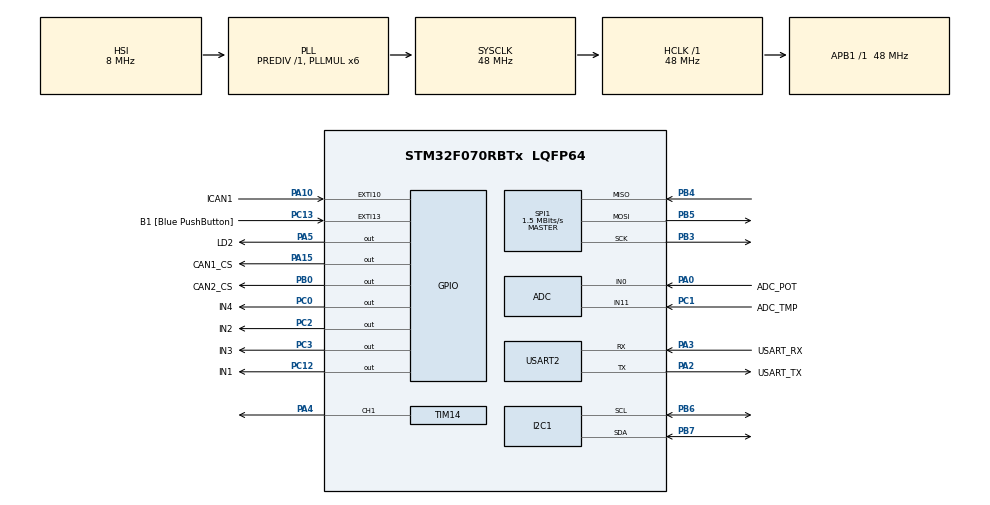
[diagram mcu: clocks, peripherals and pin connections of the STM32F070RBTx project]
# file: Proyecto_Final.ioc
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ADC.ContinuousConvMode=ENABLE
ADC.SamplingTime=ADC_SAMPLETIME_239CYCLES_5
FREERTOS.BinarySemaphores01=TX_Sem,Dynamic,NULL;CAN_Sem,Dynamic,NULL
FREERTOS.Events01=ADC_Event,Dynamic,NULL
FREERTOS.Queues01=RX_Queue,4,uint8_t,0,Dynamic,NULL,NULL;ADC_Queue,16,uint16_t,0,Dynamic,NULL,NULL
FREERTOS.Tasks01=defaultTask,8,128,StartDefaultTask,Default,NULL,Dynamic,NULL,NULL;RX_task,40,128,RX_Task,Default,NULL,Dynamic,NULL,NULL;ADC_task,24,128,ADC_Task,Default,NULL,Dynamic,NULL,NULL;SteppingMotor_T,24,128,SteppingMotor_task,Default,NULL,Dynamic,NULL,NULL;Servo_task,24,128,Servo_Task,Default,NULL,Dynamic,NULL,NULL;TX_task,24,128,TX_Task,Default,NULL,Dynamic,NULL,NULL;TX_TMP_task,24,128,TX_TMP_Task,Default,NULL,Dynamic,NULL,NULL;OLED_task,24,128,OLED_Task,Default,NULL,Dynamic,NULL,NULL;CAN_remote,24,128,CAN_remote_task,Default,NULL,Dynamic,NULL,NULL
FREERTOS.configTOTAL_HEAP_SIZE=8000
FREERTOS.configUSE_NEWLIB_REENTRANT=1
Mcu.Family=STM32F0
Mcu.Name=STM32F070RBTx
Mcu.Package=LQFP64
NVIC.ADC1_IRQn=true\:3\:0\:false\:false\:true\:true\:true\:true
NVIC.EXTI4_15_IRQn=true\:3\:0\:false\:false\:true\:true\:true\:true
NVIC.TIM14_IRQn=true\:3\:0\:false\:false\:true\:true\:true\:true
NVIC.TIM1_BRK_UP_TRG_COM_IRQn=true\:0\:0\:false\:false\:true\:false\:false\:true
NVIC.TimeBase=TIM1_BRK_UP_TRG_COM_IRQn
NVIC.TimeBaseIP=TIM1
NVIC.USART2_IRQn=true\:3\:0\:false\:false\:true\:true\:true\:true
PA0.GPIO_Label=ADC_POT
PA0.Mode=IN0
PA0.Signal=ADC_IN0
PA10.GPIO_Label=ICAN1
PA10.GPIO_PuPd=GPIO_PULLDOWN
PA10.Signal=GPXTI10
PA13.GPIO_Label=TMS
PA13.Mode=Serial_Wire
PA13.Signal=SYS_SWDIO
PA14.GPIO_Label=TCK
PA14.Mode=Serial_Wire
PA14.Signal=SYS_SWCLK
PA15.GPIO_Label=CAN1_CS
PA15.Signal=GPIO_Output
PA2.GPIO_Label=USART_TX
PA2.Mode=Asynchronous
PA2.Signal=USART2_TX
PA3.GPIO_Label=USART_RX
PA3.Mode=Asynchronous
PA3.Signal=USART2_RX
PA4.Signal=S_TIM14_CH1
PA5.GPIO_Label=LD2
PA5.Signal=GPIO_Output
PB0.GPIO_Label=CAN2_CS
PB0.Signal=GPIO_Output
PB3.Mode=Full_Duplex_Master
PB3.Signal=SPI1_SCK
PB4.Mode=Full_Duplex_Master
PB4.Signal=SPI1_MISO
PB5.Mode=Full_Duplex_Master
PB5.Signal=SPI1_MOSI
PB6.GPIO_PuPdOD=GPIO_NOPULL
PB6.Mode=I2C
PB6.Signal=I2C1_SCL
PB7.GPIO_PuPdOD=GPIO_NOPULL
PB7.Mode=I2C
PB7.Signal=I2C1_SDA
PC0.GPIO_Label=IN4
PC0.Signal=GPIO_Output
PC1.GPIO_Label=ADC_TMP
PC1.Mode=IN11
PC1.Signal=ADC_IN11
PC12.GPIO_Label=IN1
PC12.Signal=GPIO_Output
PC13.GPIO_Label=B1 [Blue PushButton]
PC13.GPIO_ModeDefaultEXTI=GPIO_MODE_IT_FALLING
PC13.Signal=GPXTI13
PC14-OSC32_IN.GPIO_Label=RCC_OSC32_IN
PC14-OSC32_IN.Mode=LSE-External-Oscillator
PC14-OSC32_IN.Signal=RCC_OSC32_IN
PC15-OSC32_OUT.GPIO_Label=RCC_OSC32_OUT
PC15-OSC32_OUT.Mode=LSE-External-Oscillator
PC15-OSC32_OUT.Signal=RCC_OSC32_OUT
PC2.GPIO_Label=IN2
PC2.Signal=GPIO_Output
PC3.GPIO_Label=IN3
PC3.Signal=GPIO_Output
PF0-OSC_IN.GPIO_Label=RCC_OSC_IN
PF0-OSC_IN.Mode=HSE-External-Clock-Source
PF0-OSC_IN.Signal=RCC_OSC_IN
PF1-OSC_OUT.GPIO_Label=RCC_OSC_OUT
PF1-OSC_OUT.Signal=RCC_OSC_OUT
ProjectManager.HeapSize=0x200
ProjectManager.StackSize=0x400
ProjectManager.TargetToolchain=STM32CubeIDE
RCC.AHBFreq_Value=48000000
RCC.APB1Freq_Value=48000000
RCC.APB1TimFreq_Value=48000000
RCC.HCLKFreq_Value=48000000
RCC.PLLMUL=RCC_PLL_MUL6
RCC.SYSCLKFreq_VALUE=48000000
RCC.SYSCLKSource=RCC_SYSCLKSOURCE_PLLCLK
SH.S_TIM14_CH1.0=TIM14_CH1,PWM Generation1 CH1
SPI1.BaudRatePrescaler=SPI_BAUDRATEPRESCALER_32
SPI1.CalculateBaudRate=1.5 MBits/s
SPI1.DataSize=SPI_DATASIZE_8BIT
SPI1.Direction=SPI_DIRECTION_2LINES
SPI1.Mode=SPI_MODE_MASTER
SPI1.NSSPMode=SPI_NSS_PULSE_DISABLE
SPI1.VirtualType=VM_MASTER
TIM14.AutoReloadPreload=TIM_AUTORELOAD_PRELOAD_DISABLE
TIM14.Channel=TIM_CHANNEL_1
TIM14.Period=19999
TIM14.Prescaler=47
USART2.VirtualMode-Asynchronous=VM_ASYNC
VP_FREERTOS_VS_CMSIS_V2.Mode=CMSIS_V2
VP_SYS_VS_tim1.Mode=TIM1
VP_TIM14_VS_ClockSourceINT.Mode=Enable_Timer
board=NUCLEO-F070RB

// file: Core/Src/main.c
/* USER CODE BEGIN Header */
/**
 ******************************************************************************
 * @file           : main.c
 * @brief          : Main program body
 ******************************************************************************
 * @attention
 *
 * <h2><center>&copy; Copyright (c) 2024 STMicroelectronics.
 * All rights reserved.</center></h2>
 *
 * This software component is licensed by ST under Ultimate Liberty license
 * SLA0044, the "License"; You may not use this file except in compliance with
 * the License. You may obtain a copy of the License at:
 *                             www.st.com/SLA0044
 *
 ******************************************************************************
 */
/* USER CODE END Header */
#include "main.h"
#include "cmsis_os.h"

/* USER CODE BEGIN Includes */
#include "stdbool.h"
#include "math.h"
#include <string.h>
#include <stdio.h>
#include "CANSPI.h"
#include "ssd1306/ssd1306.h"
#include "ssd1306/ssd1306_tests.h"
#include "ssd1306/ssd1306_fonts.h"
/* USER CODE END Includes */

/* USER CODE BEGIN PTD */
#define CAN &hspi1
/* USER CODE END PTD */

ADC_HandleTypeDef hadc;

I2C_HandleTypeDef hi2c1;

SPI_HandleTypeDef hspi1;

TIM_HandleTypeDef htim14;

UART_HandleTypeDef huart2;

/* Definitions for defaultTask */
osThreadId_t defaultTaskHandle;
const osThreadAttr_t defaultTask_attributes = {
  .name = "defaultTask",
  .priority = (osPriority_t) osPriorityLow,
  .stack_size = 128 * 4
};
/* Definitions for RX_task */
osThreadId_t RX_taskHandle;
const osThreadAttr_t RX_task_attributes = {
  .name = "RX_task",
  .priority = (osPriority_t) osPriorityHigh,
  .stack_size = 128 * 4
};
/* Definitions for ADC_task */
osThreadId_t ADC_taskHandle;
const osThreadAttr_t ADC_task_attributes = {
  .name = "ADC_task",
  .priority = (osPriority_t) osPriorityNormal,
  .stack_size = 128 * 4
};
/* Definitions for SteppingMotor_T */
osThreadId_t SteppingMotor_THandle;
const osThreadAttr_t SteppingMotor_T_attributes = {
  .name = "SteppingMotor_T",
  .priority = (osPriority_t) osPriorityNormal,
  .stack_size = 128 * 4
};
/* Definitions for Servo_task */
osThreadId_t Servo_taskHandle;
const osThreadAttr_t Servo_task_attributes = {
  .name = "Servo_task",
  .priority = (osPriority_t) osPriorityNormal,
  .stack_size = 128 * 4
};
/* Definitions for TX_task */
osThreadId_t TX_taskHandle;
const osThreadAttr_t TX_task_attributes = {
  .name = "TX_task",
  .priority = (osPriority_t) osPriorityNormal,
  .stack_size = 128 * 4
};
/* Definitions for TX_TMP_task */
osThreadId_t TX_TMP_taskHandle;
const osThreadAttr_t TX_TMP_task_attributes = {
  .name = "TX_TMP_task",
  .priority = (osPriority_t) osPriorityNormal,
  .stack_size = 128 * 4
};
/* Definitions for OLED_task */
osThreadId_t OLED_taskHandle;
const osThreadAttr_t OLED_task_attributes = {
  .name = "OLED_task",
  .priority = (osPriority_t) osPriorityNormal,
  .stack_size = 128 * 4
};
/* Definitions for CAN_remote */
osThreadId_t CAN_remoteHandle;
const osThreadAttr_t CAN_remote_attributes = {
  .name = "CAN_remote",
  .priority = (osPriority_t) osPriorityNormal,
  .stack_size = 128 * 4
};
/* Definitions for RX_Queue */
osMessageQueueId_t RX_QueueHandle;
const osMessageQueueAttr_t RX_Queue_attributes = {
  .name = "RX_Queue"
};
/* Definitions for ADC_Queue */
osMessageQueueId_t ADC_QueueHandle;
const osMessageQueueAttr_t ADC_Queue_attributes = {
  .name = "ADC_Queue"
};
/* Definitions for TX_Sem */
osSemaphoreId_t TX_SemHandle;
const osSemaphoreAttr_t TX_Sem_attributes = {
  .name = "TX_Sem"
};
/* Definitions for CAN_Sem */
osSemaphoreId_t CAN_SemHandle;
const osSemaphoreAttr_t CAN_Sem_attributes = {
  .name = "CAN_Sem"
};
/* Definitions for ADC_Event */
osEventFlagsId_t ADC_EventHandle;
const osEventFlagsAttr_t ADC_Event_attributes = {
  .name = "ADC_Event"
};
/* USER CODE BEGIN PV */
#define EVENT_FLAG_VALUE 0x00000001U
float temp;
uint16_t periodoTMP = 1000;
uint8_t data_RX[4];
uint16_t led;
uint8_t temp_int;
uint8_t temp_decimal;
int adc_int = 0; //Controla cuantas veces ha realizado la conversion del ADC para que convierta bien los 2 canales configurados
uint8_t modo_oled = 0;
uCAN_MSG txMessage,rxMessage;
/* USER CODE END PV */

void SystemClock_Config(void);
static void MX_GPIO_Init(void);
static void MX_USART2_UART_Init(void);
static void MX_ADC_Init(void);
static void MX_I2C1_Init(void);
static void MX_SPI1_Init(void);
static void MX_TIM14_Init(void);
void StartDefaultTask(void *argument);
void RX_Task(void *argument);
void ADC_Task(void *argument);
void SteppingMotor_task(void *argument);
void Servo_Task(void *argument);
void TX_Task(void *argument);
void TX_TMP_Task(void *argument);
void OLED_Task(void *argument);
void CAN_remote_task(void *argument);

/* USER CODE BEGIN PFP */
struct motor {
	uint8_t running, velocidad, periodo, direccion;// 0 izquierda...1 derecha
} motorPP;
struct servo {
	float posicion;
	uint8_t actuacion;//Modo servo
	int tiempo_ms,espera; //Tiempo espera de servo. Los valores iniciales se consideran 2s y 30 grados. (1/30=0.033)
} Servo;
struct remoto {
	uint8_t servo, rpm, tmp_ent, tmp_dec, CAN_Mode, direccion;
	bool CAN_Flag, soyA, soyB, soyAB;
} remote;
/* USER CODE END PFP */

int main(void)
{

  /* MCU Configuration--------------------------------------------------------*/

  /* Reset of all peripherals, Initializes the Flash interface and the Systick. */
  HAL_Init();

  /* Configure the system clock */
  SystemClock_Config();

  /* Initialize all configured peripherals */
  MX_GPIO_Init();
  MX_USART2_UART_Init();
  MX_ADC_Init();
  MX_I2C1_Init();
  MX_SPI1_Init();
  MX_TIM14_Init();
  /* USER CODE BEGIN 2 */
	HAL_TIM_PWM_Start(&htim14, TIM_CHANNEL_1); // Iniciamos TIMER14 PWM
	ssd1306_Init();
	remote.CAN_Flag = false, remote.CAN_Mode = 0, remote.soyA = false, remote.soyB =
	false, remote.soyAB = false;
  /* USER CODE END 2 */

  /* Init scheduler */
  osKernelInitialize();

  /* Create the semaphores(s) */
  /* creation of TX_Sem */
  TX_SemHandle = osSemaphoreNew(1, 1, &TX_Sem_attributes);

  /* creation of CAN_Sem */
  CAN_SemHandle = osSemaphoreNew(1, 1, &CAN_Sem_attributes);

  /* Create the queue(s) */
  /* creation of RX_Queue */
  RX_QueueHandle = osMessageQueueNew (4, sizeof(uint8_t), &RX_Queue_attributes);

  /* creation of ADC_Queue */
  ADC_QueueHandle = osMessageQueueNew (16, sizeof(uint16_t), &ADC_Queue_attributes);

  /* Create the thread(s) */
  /* creation of defaultTask */
  defaultTaskHandle = osThreadNew(StartDefaultTask, NULL, &defaultTask_attributes);

  /* creation of RX_task */
  RX_taskHandle = osThreadNew(RX_Task, NULL, &RX_task_attributes);

  /* creation of ADC_task */
  ADC_taskHandle = osThreadNew(ADC_Task, NULL, &ADC_task_attributes);

  /* creation of SteppingMotor_T */
  SteppingMotor_THandle = osThreadNew(SteppingMotor_task, NULL, &SteppingMotor_T_attributes);

  /* creation of Servo_task */
  Servo_taskHandle = osThreadNew(Servo_Task, NULL, &Servo_task_attributes);

  /* creation of TX_task */
  TX_taskHandle = osThreadNew(TX_Task, NULL, &TX_task_attributes);

  /* creation of TX_TMP_task */
  TX_TMP_taskHandle = osThreadNew(TX_TMP_Task, NULL, &TX_TMP_task_attributes);

  /* creation of OLED_task */
  OLED_taskHandle = osThreadNew(OLED_Task, NULL, &OLED_task_attributes);

  /* creation of CAN_remote */
  CAN_remoteHandle = osThreadNew(CAN_remote_task, NULL, &CAN_remote_attributes);

  /* USER CODE BEGIN RTOS_THREADS */
	osThreadSuspend(OLED_taskHandle);
	osThreadSuspend(TX_TMP_taskHandle);
	osThreadSuspend(SteppingMotor_THandle);
	osThreadSuspend(TX_taskHandle);
	/* add threads, ... */
  /* USER CODE END RTOS_THREADS */

  /* Create the event(s) */
  /* creation of ADC_Event */
  ADC_EventHandle = osEventFlagsNew(&ADC_Event_attributes);

  /* Start scheduler */
  osKernelStart();

  /* We should never get here as control is now taken by the scheduler */
  /* Infinite loop */
	while (1) {

	}
}

void SystemClock_Config(void)
{
  RCC_OscInitTypeDef RCC_OscInitStruct = {0};
  RCC_ClkInitTypeDef RCC_ClkInitStruct = {0};
  RCC_PeriphCLKInitTypeDef PeriphClkInit = {0};

  /** Initializes the RCC Oscillators according to the specified parameters
  * in the RCC_OscInitTypeDef structure.
  */
  RCC_OscInitStruct.OscillatorType = RCC_OSCILLATORTYPE_HSI|RCC_OSCILLATORTYPE_HSI14;
  RCC_OscInitStruct.HSIState = RCC_HSI_ON;
  RCC_OscInitStruct.HSI14State = RCC_HSI14_ON;
  RCC_OscInitStruct.HSICalibrationValue = RCC_HSICALIBRATION_DEFAULT;
  RCC_OscInitStruct.HSI14CalibrationValue = 16;
  RCC_OscInitStruct.PLL.PLLState = RCC_PLL_ON;
  RCC_OscInitStruct.PLL.PLLSource = RCC_PLLSOURCE_HSI;
  RCC_OscInitStruct.PLL.PLLMUL = RCC_PLL_MUL6;
  RCC_OscInitStruct.PLL.PREDIV = RCC_PREDIV_DIV1;
  if (HAL_RCC_OscConfig(&RCC_OscInitStruct) != HAL_OK)
  {
    Error_Handler();
  }
  /** Initializes the CPU, AHB and APB buses clocks
  */
  RCC_ClkInitStruct.ClockType = RCC_CLOCKTYPE_HCLK|RCC_CLOCKTYPE_SYSCLK
                              |RCC_CLOCKTYPE_PCLK1;
  RCC_ClkInitStruct.SYSCLKSource = RCC_SYSCLKSOURCE_PLLCLK;
  RCC_ClkInitStruct.AHBCLKDivider = RCC_SYSCLK_DIV1;
  RCC_ClkInitStruct.APB1CLKDivider = RCC_HCLK_DIV1;

  if (HAL_RCC_ClockConfig(&RCC_ClkInitStruct, FLASH_LATENCY_1) != HAL_OK)
  {
    Error_Handler();
  }
  PeriphClkInit.PeriphClockSelection = RCC_PERIPHCLK_I2C1;
  PeriphClkInit.I2c1ClockSelection = RCC_I2C1CLKSOURCE_HSI;
  if (HAL_RCCEx_PeriphCLKConfig(&PeriphClkInit) != HAL_OK)
  {
    Error_Handler();
  }
}

static void MX_ADC_Init(void)
{

  ADC_ChannelConfTypeDef sConfig = {0};

  /** Configure the global features of the ADC (Clock, Resolution, Data Alignment and number of conversion)
  */
  hadc.Instance = ADC1;
  hadc.Init.ClockPrescaler = ADC_CLOCK_ASYNC_DIV1;
  hadc.Init.Resolution = ADC_RESOLUTION_12B;
  hadc.Init.DataAlign = ADC_DATAALIGN_RIGHT;
  hadc.Init.ScanConvMode = ADC_SCAN_DIRECTION_FORWARD;
  hadc.Init.EOCSelection = ADC_EOC_SINGLE_CONV;
  hadc.Init.LowPowerAutoWait = DISABLE;
  hadc.Init.LowPowerAutoPowerOff = DISABLE;
  hadc.Init.ContinuousConvMode = ENABLE;
  hadc.Init.DiscontinuousConvMode = DISABLE;
  hadc.Init.ExternalTrigConv = ADC_SOFTWARE_START;
  hadc.Init.ExternalTrigConvEdge = ADC_EXTERNALTRIGCONVEDGE_NONE;
  hadc.Init.DMAContinuousRequests = DISABLE;
  hadc.Init.Overrun = ADC_OVR_DATA_PRESERVED;
  if (HAL_ADC_Init(&hadc) != HAL_OK)
  {
    Error_Handler();
  }
  /** Configure for the selected ADC regular channel to be converted.
  */
  sConfig.Channel = ADC_CHANNEL_0;
  sConfig.Rank = ADC_RANK_CHANNEL_NUMBER;
  sConfig.SamplingTime = ADC_SAMPLETIME_239CYCLES_5;
  if (HAL_ADC_ConfigChannel(&hadc, &sConfig) != HAL_OK)
  {
    Error_Handler();
  }
  /** Configure for the selected ADC regular channel to be converted.
  */
  sConfig.Channel = ADC_CHANNEL_11;
  if (HAL_ADC_ConfigChannel(&hadc, &sConfig) != HAL_OK)
  {
    Error_Handler();
  }

}

static void MX_I2C1_Init(void)
{

  hi2c1.Instance = I2C1;
  hi2c1.Init.Timing = 0x2000090E;
  hi2c1.Init.OwnAddress1 = 0;
  hi2c1.Init.AddressingMode = I2C_ADDRESSINGMODE_7BIT;
  hi2c1.Init.DualAddressMode = I2C_DUALADDRESS_DISABLE;
  hi2c1.Init.OwnAddress2 = 0;
  hi2c1.Init.OwnAddress2Masks = I2C_OA2_NOMASK;
  hi2c1.Init.GeneralCallMode = I2C_GENERALCALL_DISABLE;
  hi2c1.Init.NoStretchMode = I2C_NOSTRETCH_DISABLE;
  if (HAL_I2C_Init(&hi2c1) != HAL_OK)
  {
    Error_Handler();
  }
  /** Configure Analogue filter
  */
  if (HAL_I2CEx_ConfigAnalogFilter(&hi2c1, I2C_ANALOGFILTER_ENABLE) != HAL_OK)
  {
    Error_Handler();
  }
  /** Configure Digital filter
  */
  if (HAL_I2CEx_ConfigDigitalFilter(&hi2c1, 0) != HAL_OK)
  {
    Error_Handler();
  }

}

static void MX_SPI1_Init(void)
{

  /* SPI1 parameter configuration*/
  hspi1.Instance = SPI1;
  hspi1.Init.Mode = SPI_MODE_MASTER;
  hspi1.Init.Direction = SPI_DIRECTION_2LINES;
  hspi1.Init.DataSize = SPI_DATASIZE_8BIT;
  hspi1.Init.CLKPolarity = SPI_POLARITY_LOW;
  hspi1.Init.CLKPhase = SPI_PHASE_1EDGE;
  hspi1.Init.NSS = SPI_NSS_SOFT;
  hspi1.Init.BaudRatePrescaler = SPI_BAUDRATEPRESCALER_32;
  hspi1.Init.FirstBit = SPI_FIRSTBIT_MSB;
  hspi1.Init.TIMode = SPI_TIMODE_DISABLE;
  hspi1.Init.CRCCalculation = SPI_CRCCALCULATION_DISABLE;
  hspi1.Init.CRCPolynomial = 7;
  hspi1.Init.CRCLength = SPI_CRC_LENGTH_DATASIZE;
  hspi1.Init.NSSPMode = SPI_NSS_PULSE_DISABLE;
  if (HAL_SPI_Init(&hspi1) != HAL_OK)
  {
    Error_Handler();
  }

}

static void MX_TIM14_Init(void)
{

  TIM_OC_InitTypeDef sConfigOC = {0};

  htim14.Instance = TIM14;
  htim14.Init.Prescaler = 47;
  htim14.Init.CounterMode = TIM_COUNTERMODE_UP;
  htim14.Init.Period = 19999;
  htim14.Init.ClockDivision = TIM_CLOCKDIVISION_DIV1;
  htim14.Init.AutoReloadPreload = TIM_AUTORELOAD_PRELOAD_DISABLE;
  if (HAL_TIM_Base_Init(&htim14) != HAL_OK)
  {
    Error_Handler();
  }
  if (HAL_TIM_PWM_Init(&htim14) != HAL_OK)
  {
    Error_Handler();
  }
  sConfigOC.OCMode = TIM_OCMODE_PWM1;
  sConfigOC.Pulse = 0;
  sConfigOC.OCPolarity = TIM_OCPOLARITY_HIGH;
  sConfigOC.OCFastMode = TIM_OCFAST_DISABLE;
  if (HAL_TIM_PWM_ConfigChannel(&htim14, &sConfigOC, TIM_CHANNEL_1) != HAL_OK)
  {
    Error_Handler();
  }
  HAL_TIM_MspPostInit(&htim14);

}

static void MX_USART2_UART_Init(void)
{

  huart2.Instance = USART2;
  huart2.Init.BaudRate = 38400;
  huart2.Init.WordLength = UART_WORDLENGTH_8B;
  huart2.Init.StopBits = UART_STOPBITS_1;
  huart2.Init.Parity = UART_PARITY_NONE;
  huart2.Init.Mode = UART_MODE_TX_RX;
  huart2.Init.HwFlowCtl = UART_HWCONTROL_NONE;
  huart2.Init.OverSampling = UART_OVERSAMPLING_16;
  huart2.Init.OneBitSampling = UART_ONE_BIT_SAMPLE_DISABLE;
  huart2.AdvancedInit.AdvFeatureInit = UART_ADVFEATURE_NO_INIT;
  if (HAL_UART_Init(&huart2) != HAL_OK)
  {
    Error_Handler();
  }

}

static void MX_GPIO_Init(void)
{
  GPIO_InitTypeDef GPIO_InitStruct = {0};

  /* GPIO Ports Clock Enable */
  __HAL_RCC_GPIOC_CLK_ENABLE();
  __HAL_RCC_GPIOF_CLK_ENABLE();
  __HAL_RCC_GPIOA_CLK_ENABLE();
  __HAL_RCC_GPIOB_CLK_ENABLE();

  /*Configure GPIO pin Output Level */
  HAL_GPIO_WritePin(GPIOC, IN4_Pin|IN2_Pin|IN3_Pin|IN1_Pin, GPIO_PIN_RESET);

  /*Configure GPIO pin Output Level */
  HAL_GPIO_WritePin(GPIOA, LD2_Pin|CAN1_CS_Pin, GPIO_PIN_RESET);

  /*Configure GPIO pin Output Level */
  HAL_GPIO_WritePin(CAN2_CS_GPIO_Port, CAN2_CS_Pin, GPIO_PIN_RESET);

  /*Configure GPIO pin : B1_Pin */
  GPIO_InitStruct.Pin = B1_Pin;
  GPIO_InitStruct.Mode = GPIO_MODE_IT_FALLING;
  GPIO_InitStruct.Pull = GPIO_NOPULL;
  HAL_GPIO_Init(B1_GPIO_Port, &GPIO_InitStruct);

  /*Configure GPIO pins : IN4_Pin IN2_Pin IN3_Pin IN1_Pin */
  GPIO_InitStruct.Pin = IN4_Pin|IN2_Pin|IN3_Pin|IN1_Pin;
  GPIO_InitStruct.Mode = GPIO_MODE_OUTPUT_PP;
  GPIO_InitStruct.Pull = GPIO_NOPULL;
  GPIO_InitStruct.Speed = GPIO_SPEED_FREQ_LOW;
  HAL_GPIO_Init(GPIOC, &GPIO_InitStruct);

  /*Configure GPIO pins : LD2_Pin CAN1_CS_Pin */
  GPIO_InitStruct.Pin = LD2_Pin|CAN1_CS_Pin;
  GPIO_InitStruct.Mode = GPIO_MODE_OUTPUT_PP;
  GPIO_InitStruct.Pull = GPIO_NOPULL;
  GPIO_InitStruct.Speed = GPIO_SPEED_FREQ_LOW;
  HAL_GPIO_Init(GPIOA, &GPIO_InitStruct);

  /*Configure GPIO pin : CAN2_CS_Pin */
  GPIO_InitStruct.Pin = CAN2_CS_Pin;
  GPIO_InitStruct.Mode = GPIO_MODE_OUTPUT_PP;
  GPIO_InitStruct.Pull = GPIO_NOPULL;
  GPIO_InitStruct.Speed = GPIO_SPEED_FREQ_LOW;
  HAL_GPIO_Init(CAN2_CS_GPIO_Port, &GPIO_InitStruct);

  /*Configure GPIO pin : ICAN1_Pin */
  GPIO_InitStruct.Pin = ICAN1_Pin;
  GPIO_InitStruct.Mode = GPIO_MODE_IT_RISING;
  GPIO_InitStruct.Pull = GPIO_PULLDOWN;
  HAL_GPIO_Init(ICAN1_GPIO_Port, &GPIO_InitStruct);

  /* EXTI interrupt init*/
  HAL_NVIC_SetPriority(EXTI4_15_IRQn, 3, 0);
  HAL_NVIC_EnableIRQ(EXTI4_15_IRQn);

}

/* USER CODE BEGIN 4 */
void HAL_UART_RxCpltCallback(UART_HandleTypeDef *huart) {
	for (uint8_t i = 0; i < 4; i++) {
		osMessageQueuePut(RX_QueueHandle, &data_RX[i], 0, 0); //Ponemos mensaje recibido en cola byte a byte
	}
	HAL_UART_Receive_IT(&huart2, data_RX, 4); //recibimos siguiente mensaje completo
}
void HAL_ADC_ConvCpltCallback(ADC_HandleTypeDef *hadc) {
	uint16_t adc_value = HAL_ADC_GetValue(hadc);
	osMessageQueuePut(ADC_QueueHandle, &adc_value, 0, 0); //Metemos valor en la cola
	adc_int++; //Incrementamos numero de veces que hemos sacado valor del ADC
	if (adc_int == 2) {
		HAL_ADC_Stop_IT(hadc); //Si no hemos sacado la conversion de los 2 canales no paramos interrupcion
		adc_int = 0; //Reseteamos numero de conversiones
	}
}
void HAL_UART_TxCpltCallback(UART_HandleTypeDef *huart) {
	osSemaphoreRelease(TX_SemHandle);	//Liberamos semaforo TX
}
void HAL_GPIO_EXTI_Callback(uint16_t GPIO_Pin) {
	if (GPIO_Pin == ICAN1_Pin) {
		osSemaphoreRelease(CAN_SemHandle);	//Liberamos semaforo CAN
	}
}
/* USER CODE END 4 */

void StartDefaultTask(void *argument)
{
  /* USER CODE BEGIN 5 */
	/* Infinite loop */
	for (;;) {
		HAL_GPIO_TogglePin(LD2_GPIO_Port, LD2_Pin);
		osDelay(led);
	}
  /* USER CODE END 5 */
}

void RX_Task(void *argument)
{
  /* USER CODE BEGIN RX_Task */
	/* USER CODE BEGIN 5 */
	motorPP.velocidad = 0;
	motorPP.direccion = 1;
	motorPP.periodo = 2;
	Servo.espera=2000;
	uint8_t command[4];
	HAL_UART_Receive_IT(&huart2, data_RX, 4);	//Recibimos primer mensaje
	/* Infinite loop */
	for (;;) {
		for (uint8_t i = 0; i < 4; i++) {
			osMessageQueueGet(RX_QueueHandle, &command[i], 0, osWaitForever);//Guardamos byte a byte el mensaje en mensaje
		}
		if (command[3] == 0xE0) {
			switch (command[0]) {
			case 0x41://(A) mandar velocidad y tiempo de espera de servo por mensaje
				Servo.espera = command[1] * 1000;
				Servo.tiempo_ms = (1.0 / command[2]) * 1000;
				Servo.actuacion = 3;
				break;
			case 0x43:	//(C) Parar motor, adc, transmision y servo
				osThreadSuspend(TX_taskHandle);
				osThreadSuspend(OLED_taskHandle);
				osThreadSuspend(TX_TMP_taskHandle);
				osThreadSuspend(ADC_taskHandle);
				osThreadSuspend(SteppingMotor_THandle);
				HAL_GPIO_WritePin(GPIOC,IN1_Pin, 0);
				HAL_GPIO_WritePin(GPIOC,IN2_Pin, 0);
				HAL_GPIO_WritePin(GPIOC,IN3_Pin, 0);
				HAL_GPIO_WritePin(GPIOC,IN4_Pin, 0);
				led=50;//Led parpadea a 50ms
				ssd1306_SetDisplayOn(0);//Apagamos pantalla
				Servo.actuacion = 0;//Ponemos servo en modo off
				remote.CAN_Flag = false;//Desactivamos monitorizacion
				break;
			case 0x44:	//(D) Sentido horario motor paso a paso
				motorPP.direccion = 1;
				osThreadResume(TX_TMP_taskHandle);
				osThreadResume(TX_taskHandle);
				osThreadResume(ADC_taskHandle);
				osThreadResume(SteppingMotor_THandle);
				break;
			case 0x49:	//(I) Sentido antihorario motor paso a paso
				motorPP.direccion = 0;
				osThreadResume(ADC_taskHandle);
				osThreadResume(SteppingMotor_THandle);
				osThreadResume(TX_TMP_taskHandle);
				osThreadResume(TX_taskHandle);
				break;
			case 0x50:	//(P) Funcionamiento servo con potenciometro
				Servo.actuacion = 1;
				osThreadResume(TX_taskHandle);
				osThreadResume(ADC_taskHandle);
				break;
			case 0x52:	//Activacion CAN
				osThreadResume(ADC_taskHandle);
				remote.CAN_Mode = command[1];	//Guardamos modo
				if (remote.CAN_Mode == 0) {	//Modo A
					remote.soyA = true;//Activamos flag A
					remote.soyB = false;
					remote.soyAB = false;
				} else if (remote.CAN_Mode == 1) {	//Modo B
					remote.soyA = false;
					remote.soyB = true;//Flag B
					remote.soyAB = false;
				} else if (remote.CAN_Mode == 2) {	//Modo AB
					remote.soyA = false;
					remote.soyB = false;
					remote.soyAB = true;//Flag AB
				}
				if ((remote.soyA || remote.soyAB)
						&& CANSPI_Initialize(CAN, CAN1_CS_Pin)) {//Mando trama de 0's con la ID 0x22
					CANSPI_CL_Flag_Int(CAN, CAN1_CS_Pin);//Limpiamos bus
					txMessage.frame.idType = dSTANDARD_CAN_MSG_ID_2_0B;
					txMessage.frame.id = 0x22;
					txMessage.frame.dlc = 8;
					txMessage.frame.data0 = 0;
					txMessage.frame.data1 = 0;
					txMessage.frame.data2 = 0;
					txMessage.frame.data3 = 0;
					txMessage.frame.data4 = 0;
					txMessage.frame.data5 = 0;
					txMessage.frame.data6 = 0;
					txMessage.frame.data7 = 0;
					CANSPI_Transmit(CAN, &txMessage, CAN1_CS_Pin);
				}
				if ((remote.soyB || remote.soyAB)
						&& CANSPI_Initialize(CAN, CAN2_CS_Pin)) {//Mando trama de 0's con ID 0x11
					CANSPI_CL_Flag_Int(CAN, CAN2_CS_Pin);
					txMessage.frame.idType = dSTANDARD_CAN_MSG_ID_2_0B;
					txMessage.frame.id = 0x11;
					txMessage.frame.dlc = 8;
					txMessage.frame.data0 = 0;
					txMessage.frame.data1 = 0;
					txMessage.frame.data2 = 0;
					txMessage.frame.data3 = 0;
					txMessage.frame.data4 = 0;
					txMessage.frame.data5 = 0;
					txMessage.frame.data6 = 0;
					txMessage.frame.data7 = 0;
					CANSPI_Transmit(CAN, &txMessage, CAN2_CS_Pin);
				}
				break;
			case 0x53:	//(S) Funcionamiento servo con LKnob
				Servo.actuacion = 2;
				Servo.posicion = command[1];
				osThreadResume(ADC_taskHandle);
				osThreadResume(TX_TMP_taskHandle);
				osThreadResume(TX_taskHandle);
				break;
			case 0x54:	//(T) Comando tiempo para envio de temperatura ADC
				periodoTMP = ((uint16_t) command[1]) * 256 + command[2];
				osThreadResume(ADC_taskHandle);
				osThreadResume(TX_TMP_taskHandle);
				break;
			case 0x58:	//(X) activar pantalla OLED
				osThreadResume(OLED_taskHandle);
				ssd1306_SetDisplayOn(1);	//Encendemos pantalla
				modo_oled = 0;	//Modo visualizacion de datos
				break;
			case 0x60:	//Reanudar tareas
				osThreadResume(TX_TMP_taskHandle);
				osThreadResume(TX_taskHandle);
				osThreadResume(ADC_taskHandle);
				osThreadResume(OLED_taskHandle);
				osThreadResume(SteppingMotor_THandle);
				ssd1306_SetDisplayOn(1);
				break;
			case 0x61:	//Pantalla con calavera
				osThreadResume(OLED_taskHandle);
				ssd1306_SetDisplayOn(1);
				modo_oled = 1;
				break;
			case 0x62:	//Pantalla con Garfield
				osThreadResume(OLED_taskHandle);
				ssd1306_SetDisplayOn(1);
				modo_oled = 2;
				break;
			case 0x63:	//Pantalla con ST
				osThreadResume(OLED_taskHandle);
				ssd1306_SetDisplayOn(1);
				modo_oled = 3;
				break;
			case 0x64:	//Modo EPS
				osThreadResume(OLED_taskHandle);
				ssd1306_SetDisplayOn(1);
				modo_oled = 4;
				break;
			case 0x4D://(M) Comando velocidad motor paso a paso a traves de LKnob
				osThreadResume(SteppingMotor_THandle);
				motorPP.velocidad = command[1];
				motorPP.running = 1;
				if (command[1] != 0) {
					motorPP.periodo = round(1 / (motorPP.velocidad * (2.048 / 60)));
				} else {
					motorPP.periodo = 100;
				}
				break;
			default:
				break;
			}
		}
//		osDelay(1);
	}
  /* USER CODE END RX_Task */
}

void ADC_Task(void *argument)
{
  /* USER CODE BEGIN ADC_Task */
	float adc_in_11_voltage;
	uint16_t adc_value0, adc_value11;
	HAL_ADCEx_Calibration_Start(&hadc);//Calibramos
	/* Infinite loop */
	for (;;) {
		HAL_ADC_Start_IT(&hadc);
		osMessageQueueGet(ADC_QueueHandle, &adc_value0, 0, osWaitForever);//Sacamos conversion potenciometro de la cola
		osMessageQueueGet(ADC_QueueHandle, &adc_value11, 0, osWaitForever);	//Sacamos conversion temperatura
		adc_in_11_voltage = (adc_value11 / 4095.0) * 3300;
		temp = adc_in_11_voltage / 10;
		if (Servo.actuacion == 1) {//Si estamos en modo servo con potenciometro
			Servo.posicion = (adc_value0 / 4095.0) * 90;//actualizamos posicion
		}
		osEventFlagsSet(ADC_EventHandle, EVENT_FLAG_VALUE);//Activamos flag de conversion
		if (remote.CAN_Flag && (remote.soyA || remote.soyAB)) {//Si tenemos monitorizacion activada mandamos info por can
			CANSPI_CL_Flag_Int(CAN, CAN1_CS_Pin);
			txMessage.frame.idType = dSTANDARD_CAN_MSG_ID_2_0B;
			txMessage.frame.id = 0x15;
			txMessage.frame.dlc = 8;
			txMessage.frame.data0 = temp;
			txMessage.frame.data1 = (temp - txMessage.frame.data0) * 100;
			txMessage.frame.data2 = Servo.posicion;
			txMessage.frame.data3 = motorPP.velocidad;
			txMessage.frame.data4 = motorPP.direccion;
			txMessage.frame.data5 = 1;
			txMessage.frame.data6 = 0xC;
			txMessage.frame.data7 = 1;
			CANSPI_Transmit(CAN, &txMessage, CAN1_CS_Pin);
		}
		if (remote.CAN_Flag && (remote.soyB || remote.soyAB)) {
			CANSPI_CL_Flag_Int(CAN, CAN2_CS_Pin);
			txMessage.frame.idType = dSTANDARD_CAN_MSG_ID_2_0B;
			txMessage.frame.id = 0x25;
			txMessage.frame.dlc = 8;
			txMessage.frame.data0 = temp;
			txMessage.frame.data1 = (temp - txMessage.frame.data0) * 100;
			txMessage.frame.data2 = Servo.posicion;
			txMessage.frame.data3 = motorPP.velocidad;
			txMessage.frame.data4 = motorPP.direccion;
			txMessage.frame.data5 = 1;
			txMessage.frame.data6 = 0xC;
			txMessage.frame.data7 = 1;
			CANSPI_Transmit(CAN, &txMessage, CAN2_CS_Pin);
		}
		osDelay(100);
	}
  /* USER CODE END ADC_Task */
}

void SteppingMotor_task(void *argument)
{
  /* USER CODE BEGIN SteppingMotor_task */
	char fase = 1;
	/* Infinite loop */
	for (;;) {
			switch (fase) {
			case 1:
				HAL_GPIO_WritePin(GPIOC, IN1_Pin, 1);
				HAL_GPIO_WritePin(GPIOC, IN2_Pin, 1);
				HAL_GPIO_WritePin(GPIOC, IN3_Pin, 0);
				HAL_GPIO_WritePin(GPIOC, IN4_Pin, 0);
				break;
			case 2:
				HAL_GPIO_WritePin(GPIOC, IN1_Pin, 0);
				HAL_GPIO_WritePin(GPIOC, IN2_Pin, 1);
				HAL_GPIO_WritePin(GPIOC, IN3_Pin, 1);
				HAL_GPIO_WritePin(GPIOC, IN4_Pin, 0);
				break;
			case 3:
				HAL_GPIO_WritePin(GPIOC, IN1_Pin, 0);
				HAL_GPIO_WritePin(GPIOC, IN2_Pin, 0);
				HAL_GPIO_WritePin(GPIOC, IN3_Pin, 1);
				HAL_GPIO_WritePin(GPIOC, IN4_Pin, 1);
				break;
			case 4:
				HAL_GPIO_WritePin(GPIOC, IN1_Pin, 1);
				HAL_GPIO_WritePin(GPIOC, IN2_Pin, 0);
				HAL_GPIO_WritePin(GPIOC, IN3_Pin, 0);
				HAL_GPIO_WritePin(GPIOC, IN4_Pin, 1);
				break;
			}
			if (motorPP.direccion == 1) {	//D
				fase++;
				if (fase >= 5) {
					fase = 1;
				}
				led = 200;	// Led parpadea a 200ms
			} else if (motorPP.direccion == 0) {	//I
				fase--;
				if (fase <= 0) {
					fase = 4;
				}
				led = 800;	//Led parpadea a 800ms
			}
		osDelay(motorPP.periodo);
	}
  /* USER CODE END SteppingMotor_task */
}

void Servo_Task(void *argument)
{
  /* USER CODE BEGIN Servo_Task */
	Servo.tiempo_ms = 33;
	float t_alto; //[1,2]ms
	uint16_t ccr; //[0,19999] ciclos de reloj
	int estado = 0;
	/* Infinite loop */
	for (;;) {
		if (Servo.actuacion == 1) { //MODO POTENCIOMETRO
			osEventFlagsWait(ADC_EventHandle, EVENT_FLAG_VALUE, osFlagsWaitAny,osWaitForever);//Esperamos a conversion
			t_alto = Servo.posicion / 90.0 + 1;	//Realmente el servo tomara -90º si estamos en 0 grados (1ms) y 90º si son 90 grados (2ms) por lo que el rango son 180º
			ccr = t_alto * 20000.0 / 20.0;//Obtenemos valor CCR con el ARR y el DC
			htim14.Instance->CCR1 = ccr;//Cargamos CCR
			osDelay(100);
		} else if (Servo.actuacion == 2) {	//MODO S (RECEPCION POSICION)
			t_alto = Servo.posicion / 90.0 + 1;
			ccr = t_alto * 20000.0 / 20.0;
			htim14.Instance->CCR1 = ccr;
			Servo.actuacion = 0;//Este comando solo se tiene que ejecutar 1 vez porque recibe por mensaje la posicion
			osDelay(100);
		} else if (Servo.actuacion == 3) { //MODO A (INTRODUCIENDO VELOCIDAD)
			switch (estado) {
			case 0: //Reposo
				Servo.posicion = 0;
				estado = 1;
				osDelay(100);
				break;
			case 1: //Abriendo
				if (Servo.posicion < 90){//de 0 a 89º
					t_alto = Servo.posicion / 90.0 + 1;
					ccr = t_alto / 20.0 * 20000;
					htim14.Instance->CCR1 = ccr;//Cargamos CCR para incrementar servo
					Servo.posicion = Servo.posicion + 1;//Incrementamos posicion
				} else {//90º
					t_alto = Servo.posicion / 90.0 + 1;
					ccr = t_alto / 20.0 * 20000;
					htim14.Instance->CCR1 = ccr;
					estado = 2;
				}
				osDelay(Servo.tiempo_ms);
				break;
			case 2: //Espera
				osDelay(Servo.espera);
				estado = 3;
				break;
			case 3: //Cerrando
				if (Servo.posicion > 0) {
					t_alto = Servo.posicion / 90.0 + 1;
					ccr = t_alto / 20.0 * 20000;
					htim14.Instance->CCR1 = ccr;
					Servo.posicion = Servo.posicion - 1;
				} else {
					t_alto = Servo.posicion / 90.0 + 1;
					ccr = t_alto / 20.0 * 20000;
					htim14.Instance->CCR1 = ccr;
					estado = 0;
					Servo.actuacion = 0;
				}
				osDelay(Servo.tiempo_ms);
				break;
			default:
				osDelay(50);
				break;
			}
		} else
			osDelay(100);
	}
  /* USER CODE END Servo_Task */
}

void TX_Task(void *argument)
{
  /* USER CODE BEGIN TX_Task */
	uint8_t trama[8][4]={
			{0x20,Servo.posicion,0xFF,0xE0},//Trama posicion del servo
			{0x21,remote.servo,0xFF,0xE0},//Trama servo remota
			{0x31,remote.tmp_ent,remote.tmp_dec,0xE0},//Trama temperatura remota
			{0x40,motorPP.velocidad,motorPP.direccion,0xE0},//Trama velocidad motor
			{0x41,remote.rpm,remote.direccion,0xE0},//Trama velocidad remota
	};
  /* Infinite loop */
  for(;;)
  {
	  trama[0][1]=Servo.posicion;//actualizamos tramas
	  trama[1][1]=remote.servo;
	  trama[2][1]=remote.tmp_ent,trama[2][2]=remote.tmp_dec;
	  trama[3][1]=motorPP.velocidad,trama[3][2]=motorPP.direccion;
	  trama[4][1]=remote.rpm,trama[4][2]=remote.direccion;
	  for(uint8_t i=0;i<5;i++){
		  osSemaphoreAcquire(TX_SemHandle, osWaitForever);//Cogemos semaforo
		  HAL_UART_Transmit_IT(&huart2, trama[i], sizeof(trama[i]));//Transmitimos
	  }

	osDelay(100);
  }
  /* USER CODE END TX_Task */
}

void TX_TMP_Task(void *argument)
{
  /* USER CODE BEGIN TX_TMP_Task */
	uint8_t command[4];
	/* Infinite loop */
	for (;;) {
		osEventFlagsWait(ADC_EventHandle, EVENT_FLAG_VALUE, osFlagsWaitAny,osWaitForever);//Esperamos conversion
		command[0] = 0x30;
		command[1] = temp;
		command[2] = (temp - command[1]) * 100;
		command[3] = 0xE0;
		temp_int = command[1];//Guardamos parte entera y decimal de temperatura para pantalla OLED
		temp_decimal = command[2];
		osSemaphoreAcquire(TX_SemHandle, osWaitForever);//Cogemos semaforo
		HAL_UART_Transmit_IT(&huart2, command, 4);//Transmitimos
		osDelay(periodoTMP);
	}
  /* USER CODE END TX_TMP_Task */
}

void OLED_Task(void *argument)
{
  /* USER CODE BEGIN OLED_Task */
//Direccion I2C son 7 bits 6+bit SA0 (Slave Address que puede ser 1 o 0)
//Segun datasheet puede ser 0111100 o 0111101, lsb es el SA0 bit
	uint16_t i2c_dir0 = 0x3C << 1; //Comprobado que es la direccion con el SA0 puesto a 0 (0111100)
  //uint16_t i2c_dir1=0x3D << 1;
	char msg[20];//String mostrado en pantalla
	char sentido;//Sentido de giro de motor
	/* Infinite loop */
	for (;;) {
		if (HAL_I2C_IsDeviceReady(&hi2c1, i2c_dir0, 3, 1000) == HAL_OK) {//Si direccion es correcta
			uint8_t y = 0; //Coordenada vertical a 0 para empezar desde arriba
			switch (modo_oled) {
			case 0:	//Modo visualizacion de datos
				sprintf(msg, "Servo: %i", (uint8_t) Servo.posicion);//Escribimos string
				ssd1306_Fill(Black);	//Pantalla a negro
				ssd1306_SetCursor(2, y);//Apuntamos al pixel mapeado en (2,0)
				ssd1306_WriteString(msg, Font_11x18, White);//Escribimos string en pantalla
				y += 20;//Incrementamos puntero vertical 18 pixeles(altura de letra)+ 2 pixeles extra
				sprintf(msg, "Temp=%i.%i", temp_int, temp_decimal);//String temperatura
				ssd1306_SetCursor(2, y);
				ssd1306_WriteString(msg, Font_11x18, White);
				y += 20;
				if (motorPP.direccion == 0) {//Segun direccion de giro de motor asociamos sentido a una letra u otra
					sentido = 'I';//Izquierda
				} else {//1
					sentido = 'D';//Derecha
				}
				sprintf(msg, "Motor:%d,%c", motorPP.velocidad, sentido);//String motor
				ssd1306_SetCursor(2, y);
				ssd1306_WriteString(msg, Font_11x18, White);
				ssd1306_UpdateScreen();	//Una vez escrito todo en pantalla, actualizamos
				break;
			case 1:	//Modo dibujar calavera
				ssd1306_DrawSkull();
				break;
			case 2: //Modo dibujar Garfield
				ssd1306_DrawGarfield();
				break;
			case 3: //Modo dibujar logo ST
				ssd1306_DrawST();
				break;
			case 4://Modo logo EPS
				ssd1306_DrawEPS();
				break;
			default:
				break;
			}
		}
		osDelay(250);
	}
  /* USER CODE END OLED_Task */
}

void CAN_remote_task(void *argument)
{
  /* USER CODE BEGIN CAN_remote_task */

	/* Infinite loop */
	for (;;) {
		osSemaphoreAcquire(CAN_SemHandle, osWaitForever);//Cogemos semaforo
		if (CANSPI_Receive(CAN, &rxMessage, CAN1_CS_Pin)) {//Si hemos recibido en el CAN1...
			if (rxMessage.frame.id == 0x11 && rxMessage.frame.dlc == 8
					&& rxMessage.frame.data0 == 0 && rxMessage.frame.data1 == 0
					&& rxMessage.frame.data2 == 0 && rxMessage.frame.data3 == 0
					&& rxMessage.frame.data4 == 0 && rxMessage.frame.data5 == 0
					&& rxMessage.frame.data6 == 0
					&& rxMessage.frame.data7 == 0) {
				remote.CAN_Flag = true;//Si se han recibido 8 bytes a 0 en la id 0x11 activamos monitorizacion
			}else if (rxMessage.frame.id == 0x25 && rxMessage.frame.dlc == 8
					&& rxMessage.frame.data5 == 1
					&& rxMessage.frame.data6 == 0xC
					&& rxMessage.frame.data7 == 1) {//Si en cambio se han recibido 8 bytes en la 0x25, actualizamos
				remote.tmp_ent = rxMessage.frame.data0;
				remote.tmp_dec = rxMessage.frame.data1;
				remote.servo = rxMessage.frame.data2;
				remote.rpm = rxMessage.frame.data3;
				remote.direccion = rxMessage.frame.data4;
			}
			CANSPI_CL_Flag_Int(CAN, CAN1_CS_Pin);//Limpiamos bus
		} else if (CANSPI_Receive(CAN, &rxMessage, CAN2_CS_Pin)) {//Lo mismo para CAN_2
			if (rxMessage.frame.id == 0x22 && rxMessage.frame.dlc == 8
					&& rxMessage.frame.data0 == 0 && rxMessage.frame.data1 == 0
					&& rxMessage.frame.data2 == 0 && rxMessage.frame.data3 == 0
					&& rxMessage.frame.data4 == 0 && rxMessage.frame.data5 == 0
					&& rxMessage.frame.data6 == 0
					&& rxMessage.frame.data7 == 0) {
				remote.CAN_Flag = true;
			}else if (rxMessage.frame.id == 0x15 && rxMessage.frame.dlc == 8
					&& rxMessage.frame.data5 == 1
					&& rxMessage.frame.data6 == 0xC
					&& rxMessage.frame.data7 == 1) {
				remote.tmp_ent = rxMessage.frame.data0;
				remote.tmp_dec = rxMessage.frame.data1;
				remote.servo = rxMessage.frame.data2;
				remote.rpm = rxMessage.frame.data3;
				remote.direccion = rxMessage.frame.data4;
			}
			CANSPI_CL_Flag_Int(CAN, CAN2_CS_Pin);
		}
		osDelay(500);
	}
  /* USER CODE END CAN_remote_task */
}

 /**
  * @brief  Period elapsed callback in non blocking mode
  * @note   This function is called  when TIM1 interrupt took place, inside
  * HAL_TIM_IRQHandler(). It makes a direct call to HAL_IncTick() to increment
  * a global variable "uwTick" used as application time base.
  * @param  htim : TIM handle
  * @retval None
  */
void HAL_TIM_PeriodElapsedCallback(TIM_HandleTypeDef *htim)
{
  if (htim->Instance == TIM1) {
    HAL_IncTick();
  }
}

void Error_Handler(void)
{
	__disable_irq();
	while (1) {
	}
}

/************************ (C) COPYRIGHT STMicroelectronics *****END OF FILE****/
